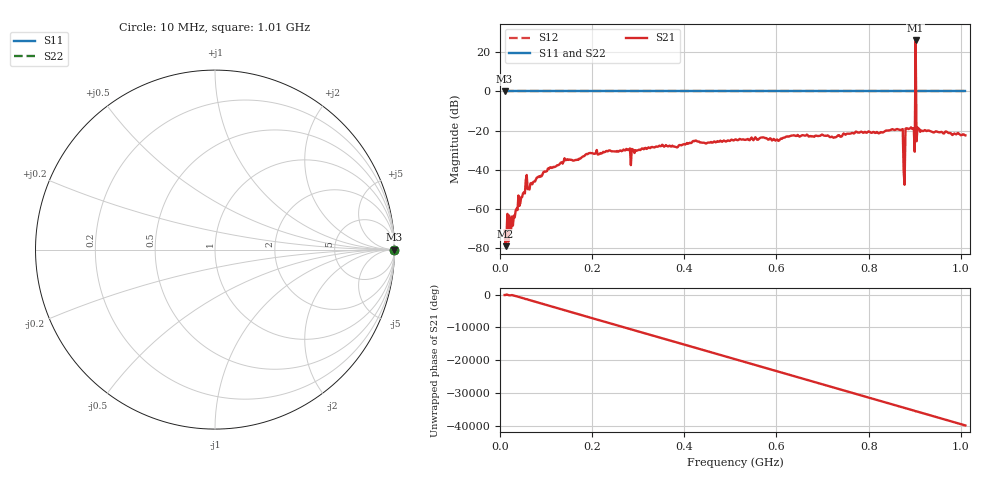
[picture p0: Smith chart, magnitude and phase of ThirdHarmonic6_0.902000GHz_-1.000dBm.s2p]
! 8/16/2025 5:35:01 AM
! C:\ANRITSUVNA\TEMP\TEMP.S2P
! CHANNEL.1
! TR.MEASUREMENT
! RAW.DATA
! RF.CORRECTION.OFF
! AVERAGING.OFF
! IF.BANDWIDTH: 5KHZ
! SWEEPTYPE:  FREQ.SWEEP(Linear)
! Reference Plane Port Info
! PORT:  PORT1  PORT2
! DISTANCE:  0  m  0  m
! TIME:  0  s  0  s
! PHASE.OFFSET:  0  deg.  0  deg.
! LOSS:  0  dB  0  dB
! REF.LOSS:  0  dB  0  dB
! REF.FREQ:  0  Hz  0  Hz
! Power Info
! POWER:  -20  dBm  -20  dBm
! EFF.POWER:  -20  dBm  -20  dBm
! SOURCE.ATTEN:  0  dB  0  dB
! TEST.ATTEN:  0  dB  0  dB
# GHZ S RI R 50.0
! FREQ.GHZ  S11RE  S11IM  S21RE  S21IM  S12RE  S12IM  S22RE  S22IM
!; PortSelection: Port_12
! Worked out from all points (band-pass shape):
!   501 points, 10 MHz to 1.01 GHz, reference 50 ohm
!   highest |S21| = 26.06 dB at 902 MHz (marker M1); lowest = -79.1 dB at 12 MHz (marker M2)
!   |S21| within 3 dB of the highest: 901.8945 MHz to 902.1165 MHz (222 kHz wide, 0.0246 % of centre)
!   lowest |S11| = 0.0 dB at 10 MHz (marker M3)
!   |S11| at or under -10 dB: nowhere
!   |S22| runs from 0.0 to 0.0 dB; largest |S21 - S12| = 20
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0.01  1 0  -0.000219 -0.000171  1 0  1 0
0.012  1 0  -9.32e-05 -6.05e-05  1 0  1 0
0.014  1 0  0.000182 2.81e-05  1 0  1 0
0.028  1 0  -0.000214 0.000307  1 0  1 0
0.054  1 0  -0.00246 8.24e-05  1 0  1 0
0.142  1 0  -0.0162 -0.00648  1 0  1 0
0.178  1 0  -0.0206 -0.00451  1 0  1 0
0.344  1 0  0.0378 -0.0114  1 0  1 0
0.51  1 0  -0.0475 0.0349  1 0  1 0
0.678  1 0  -0.0598 -0.0389  1 0  1 0
0.844  1 0  0.1012 0.00402  1 0  1 0
0.87  1 0  0.0909 0.0494  1 0  1 0
0.874  1 0  -0.0735 -0.0805  1 0  1 0
0.88  1 0  0.1073 -0.0311  1 0  1 0
0.884  1 0  -0.1131 0.00487  1 0  1 0
0.894  1 0  -0.0753 0.0821  1 0  1 0
0.896  1 0  0.0711 0.0893  1 0  1 0
0.898  1 0  0.0972 -0.059  1 0  1 0
0.902  1 0  -2.445 19.93  1 0  1 0
0.906  1 0  0.1194 0.00241  1 0  1 0
0.908  1 0  0.0161 -0.1136  1 0  1 0
1.01  1 0  -0.0261 0.0707  1 0  1 0
